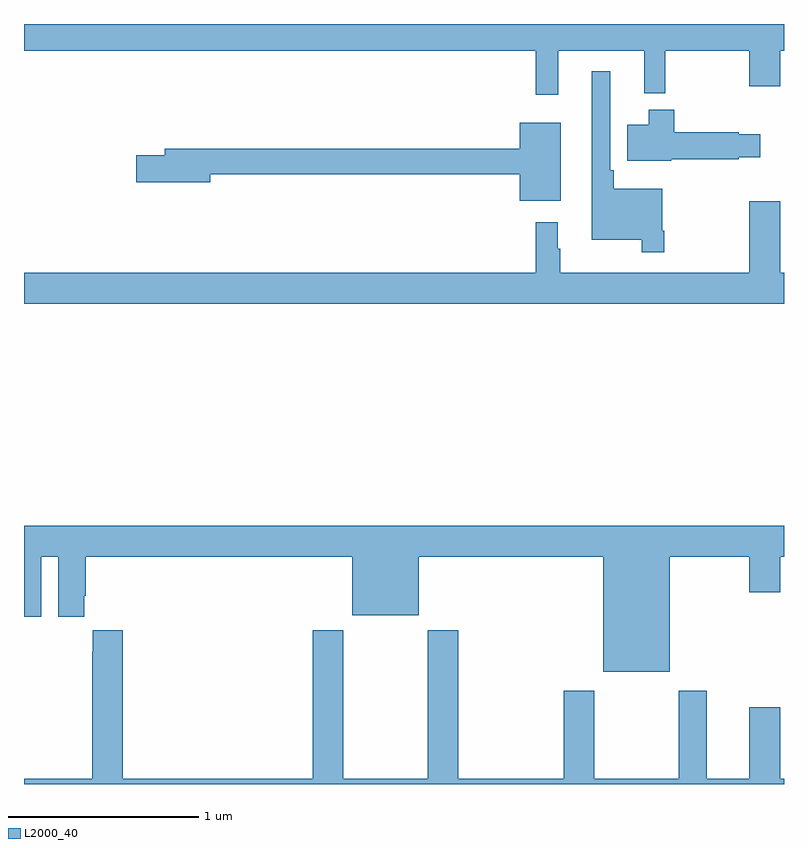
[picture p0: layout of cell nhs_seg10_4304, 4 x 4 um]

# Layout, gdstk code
import gdstk
lib = gdstk.Library(unit=1e-6, precision=1e-09)
def P(c, l, *ps):  # polygons
    for p in ps: c.add(gdstk.Polygon(p, *l))
L2000_40 = (2000, 40)

nhs_seg10_4304 = lib.new_cell('nhs_seg10_4304')
P(nhs_seg10_4304, L2000_40, [(353,1256.36),(355.693,1256.36),(355.693,1256.127),(355.811,1256.127),(355.811,1256.36),(356.264,1256.36),(356.264,1256.135),(356.374,1256.135),(356.374,1256.36),(356.816,1256.36),(356.816,1256.172),(356.98,1256.172),(356.98,1256.36),(357,1256.36),(357,1256.5),(353,1256.5)],
  [(356.371,1255.411),(356.358,1255.411),(356.358,1255.633),(356.105,1255.633),(356.105,1255.729),(356.085,1255.729),(356.085,1256.251),(355.988,1256.251),(355.988,1255.364),(356.25,1255.364),(356.25,1255.299),(356.371,1255.299)],
  [(356.406,1255.787),(356.762,1255.787),(356.762,1255.799),(356.875,1255.799),(356.875,1255.921),(356.762,1255.921),(356.762,1255.929),(356.423,1255.929),(356.423,1256.05),(356.288,1256.05),(356.288,1255.969),(356.174,1255.969),(356.174,1255.781),(356.406,1255.781)],
  [(355.825,1255.981),(355.61,1255.981),(355.61,1255.844),(353.741,1255.844),(353.741,1255.808),(353.592,1255.808),(353.592,1255.666),(353.98,1255.666),(353.98,1255.708),(355.61,1255.708),(355.61,1255.571),(355.825,1255.571)],
  [(355.693,1255.456),(355.693,1255.192),(353,1255.192),(353,1255.028),(357,1255.028),(357,1255.192),(356.98,1255.192),(356.98,1255.567),(356.816,1255.567),(356.816,1255.192),(355.822,1255.192),(355.822,1255.316),(355.81,1255.316),(355.81,1255.456)],
  [(356.398,1253.696),(356.816,1253.696),(356.816,1253.508),(356.98,1253.508),(356.98,1253.696),(357,1253.696),(357,1253.86),(353,1253.86),(353,1253.379),(353.092,1253.379),(353.092,1253.696),(353.18,1253.696),(353.18,1253.379),(353.317,1253.379),(353.317,1253.491),(353.324,1253.491),(353.324,1253.696),(354.728,1253.696),(354.728,1253.387),(355.078,1253.387),(355.078,1253.696),(356.048,1253.696),(356.048,1253.09),(356.398,1253.09)],
  [(357,1252.528),(356.98,1252.528),(356.98,1252.903),(356.816,1252.903),(356.816,1252.528),(356.593,1252.528),(356.593,1252.99),(356.446,1252.99),(356.446,1252.528),(356.001,1252.528),(356.001,1252.99),(355.841,1252.99),(355.841,1252.528),(355.286,1252.528),(355.286,1253.308),(355.126,1253.308),(355.126,1252.528),(354.681,1252.528),(354.681,1253.308),(354.521,1253.308),(354.521,1252.528),(353.519,1252.528),(353.519,1253.308),(353.363,1253.308),(353.363,1253.195),(353.359,1253.195),(353.359,1252.528),(353,1252.528),(353,1252.5),(357,1252.5)])

lib.write_gds('nhs_seg10_4304.gds')
